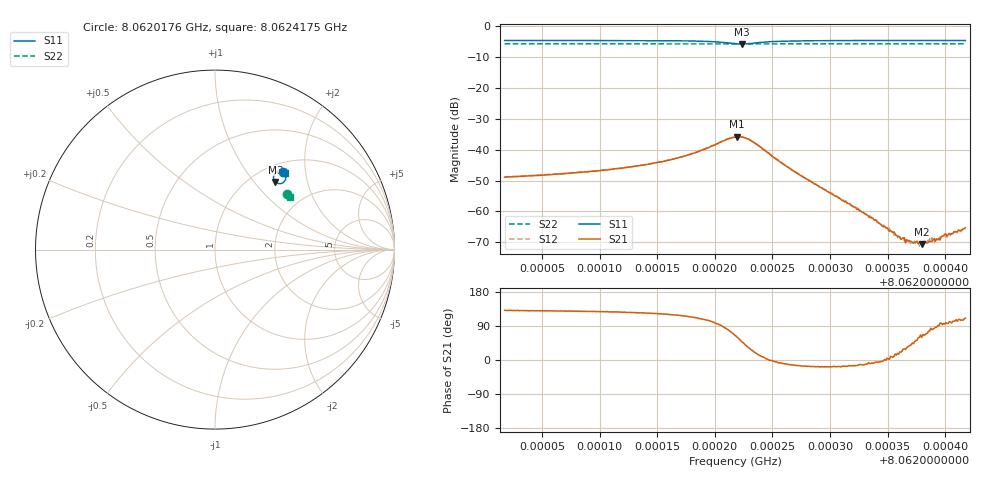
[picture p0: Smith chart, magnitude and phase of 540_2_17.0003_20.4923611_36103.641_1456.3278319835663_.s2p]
#  HZ  S  RI  R  50.00
! Rohde & Schwarz Vector Network Analyzer
! Rohde-Schwarz,ZNB20-2Port,1311601062101988,3.16
! Created: UTC 3/20/2024, 11:16:16 PM
! freq[Hz]  re:S11  im:S11  re:S21  im:S21  re:S12  im:S12  re:S22  im:S22
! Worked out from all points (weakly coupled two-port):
!   401 points, 8.0620176 GHz to 8.0624175 GHz, reference 50 ohm
!   highest |S21| = -35.88 dB at 8.0622196 GHz (marker M1); lowest = -70.5 dB at 8.0623795 GHz (marker M2)
!   lowest |S11| = -5.9 dB at 8.0622236 GHz (marker M3), VSWR 3.04, Z = 64 + j64.8 ohm
!   |S11| at or under -10 dB: nowhere
!   |S22| runs from -5.9 to -5.9 dB; largest |S21 - S12| = 0.0011
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8.06201759e9  0.3781 0.4346  -0.00235 0.0027  -0.0022 0.00286  0.4034 0.3104
8.06208458e9  0.3839 0.4286  -0.00268 0.00338  -0.00248 0.00358  0.406 0.3068
8.06212057e9  0.3876 0.424  -0.00299 0.00407  -0.00279 0.00431  0.4073 0.3049
8.06215156e9  0.3915 0.4172  -0.0033 0.00528  -0.00299 0.00551  0.4084 0.3031
8.06218356e9  0.3949 0.4022  -0.00331 0.00831  -0.00281 0.00857  0.4094 0.3009
8.06221755e9  0.3553 0.3677  0.00673 0.0145  0.00764 0.0141  0.4084 0.2981
8.06221955e9  0.3489 0.3693  0.00807 0.0139  0.00903 0.0135  0.4082 0.2984
8.06222355e9  0.337 0.3767  0.0107 0.0119  0.0113 0.0114  0.4078 0.2988
8.06223355e9  0.3264 0.4062  0.0121 0.00507  0.0126 0.00445  0.408 0.2997
8.06225755e9  0.3517 0.4351  0.00608 -0.000841  0.00609 -0.00127  0.4104 0.2995
8.06228454e9  0.3678 0.4354  0.00281 -0.000864  0.0028 -0.00108  0.412 0.2979
8.06233753e9  0.3803 0.4306  0.000753 -0.000118  0.000768 -0.000137  0.4142 0.2952
8.06235153e9  0.3823 0.4295  0.00048 1.42e-05  0.000537 2.7e-07  0.4149 0.2941
8.06235753e9  0.3831 0.4291  0.000401 9.05e-05  0.000389 5.46e-05  0.4149 0.294
8.06236353e9  0.3837 0.4285  0.00033 0.000178  0.000338 0.000139  0.4153 0.2935
8.06236853e9  0.3843 0.4283  0.000274 0.000205  0.000251 0.000205  0.4154 0.2934
8.06237952e9  0.3856 0.4274  0.000152 0.000258  0.000155 0.000272  0.4158 0.2929
8.06238652e9  0.3863 0.4268  7.6e-05 0.00032  8.76e-05 0.000354  0.416 0.2923
8.06239252e9  0.3869 0.4265  2.37e-05 0.000361  3.69e-05 0.000344  0.4163 0.292
8.06239352e9  0.3871 0.4264  -5.79e-06 0.000351  3.27e-05 0.000361  0.4162 0.292
8.06239852e9  0.3875 0.426  -4.5e-05 0.000403  -4.36e-05 0.000404  0.4165 0.2918
8.06241752e9  0.3891 0.4248  -0.000192 0.000512  -0.000131 0.0005  0.4172 0.2907
